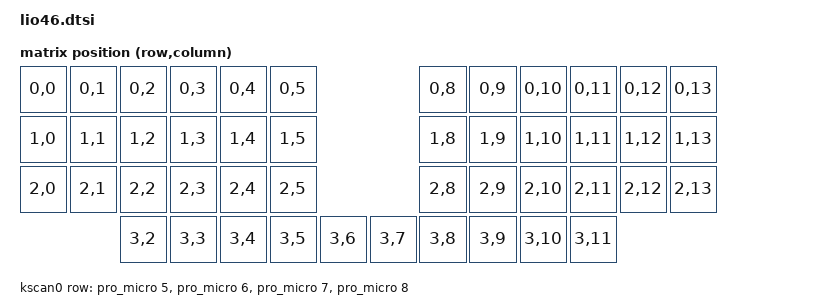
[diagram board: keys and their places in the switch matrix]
#include <dt-bindings/zmk/matrix_transform.h>

#include "lio46-layout.dtsi"

/ {
    chosen {
        zmk,kscan = &kscan0;
        zmk,physical-layout = &physical_layout0;
    };

    default_transform: keymap_transform_0 {
        compatible = "zmk,matrix-transform";
        columns = <14>;
        rows = <4>;
        map = <
            RC(0,0) RC(0,1) RC(0,2) RC(0,3) RC(0,4) RC(0,5)                          RC(0,8) RC(0,9) RC(0,10) RC(0,11) RC(0,12) RC(0,13)
            RC(1,0) RC(1,1) RC(1,2) RC(1,3) RC(1,4) RC(1,5)                          RC(1,8) RC(1,9) RC(1,10) RC(1,11) RC(1,12) RC(1,13)
            RC(2,0) RC(2,1) RC(2,2) RC(2,3) RC(2,4) RC(2,5)                          RC(2,8) RC(2,9) RC(2,10) RC(2,11) RC(2,12) RC(2,13)
                            RC(3,2) RC(3,3) RC(3,4) RC(3,5) RC(3,6)          RC(3,7) RC(3,8) RC(3,9) RC(3,10) RC(3,11)
        >;
    };

    kscan0: kscan {
        compatible = "zmk,kscan-gpio-matrix";
        diode-direction = "col2row";
        wakeup-source;

        row-gpios
            = <&pro_micro 5 (GPIO_ACTIVE_HIGH | GPIO_PULL_DOWN)> // 024
            , <&pro_micro 6 (GPIO_ACTIVE_HIGH | GPIO_PULL_DOWN)> // 100
            , <&pro_micro 7 (GPIO_ACTIVE_HIGH | GPIO_PULL_DOWN)> // 011
            , <&pro_micro 8 (GPIO_ACTIVE_HIGH | GPIO_PULL_DOWN)> // 104
            ;

    };
};

&pinctrl {
    spi0_default: spi0_default {
        group1 {
            psels = <NRF_PSEL(SPIM_SCK, 0, 20)>,
                <NRF_PSEL(SPIM_MOSI, 0, 17)>,
                <NRF_PSEL(SPIM_MISO, 0, 17)>;
        };
    };
    spi0_sleep: spi0_sleep {
        group1 {
            psels = <NRF_PSEL(SPIM_SCK, 0, 20)>,
                <NRF_PSEL(SPIM_MOSI, 0, 17)>,
                <NRF_PSEL(SPIM_MISO, 0, 17)>;
            low-power-enable;
        };
    };
};

// nice_view_spi: &spi0 {
//     compatible = "nordic,nrf-spim";
//     pinctrl-0 = <&spi0_default>;
//     pinctrl-1 = <&spi0_sleep>;
//     pinctrl-names = "default", "sleep";
//     cs-gpios = <&pro_micro 4 GPIO_ACTIVE_HIGH>; // 022
// };

// &pro_micro_i2c {
//     status = "disabled";
// };

#include <zephyr/dt-bindings/input/input-event-codes.h>

&spi0 {
    status = "okay";
    compatible = "nordic,nrf-spim";
    pinctrl-0 = <&spi0_default>;
    pinctrl-1 = <&spi0_sleep>;
    pinctrl-names = "default", "sleep";
    cs-gpios = <&gpio0 22 GPIO_ACTIVE_LOW>;

    trackball: trackball@0 {
        status = "okay";
        compatible = "pixart,pmw3610";
        reg = <0>;
        spi-max-frequency = <2000000>;
        irq-gpios = <&gpio0 6 (GPIO_ACTIVE_LOW | GPIO_PULL_UP)>;
        cpi = <600>;
        evt-type = <INPUT_EV_REL>;
        x-input-code = <INPUT_REL_X>;
        y-input-code = <INPUT_REL_Y>;

        force-awake;
        /* keep the sensor awake while ZMK activity state is ACTIVE,
           fallback to normal downshift mode after ZMK goes into IDLE / SLEEP mode.
           thus, the sensor would be a `wakeup-source` */
    };
};

/ {
  trackball_listener {
    compatible = "zmk,input-listener";
    device = <&trackball>;
  };
};
